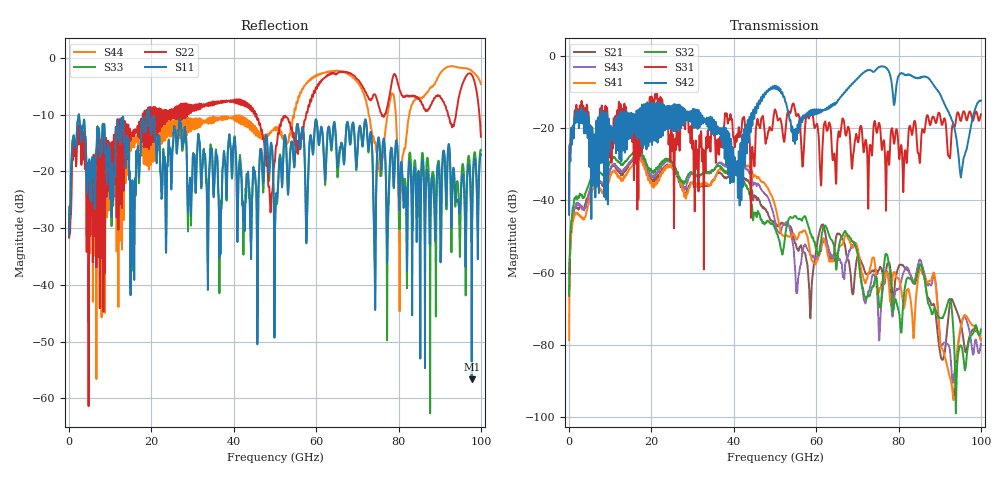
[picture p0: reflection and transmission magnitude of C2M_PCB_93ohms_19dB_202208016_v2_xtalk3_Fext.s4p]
! Info: Touchstone file created by Circ.  Input file=Intel_C2M_200G_6p5in_202208016_staggered.circ
# Hz S RI R 50
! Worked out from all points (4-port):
!   10000 points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, 10 MHz to 100 GHz, reference 50 ohm
!   strongest paths, dB at 10 MHz, 25.01 GHz, 50.01 GHz, 75.01 GHz, 100 GHz:
!     S42: -43.8, -16.6, -8.5, -3.4, -12.4
!     S31: -44.0, -26.0, -14.9, -19.8, -16.2
!     S32: -66.3, -29.3, -47.9, -65.0, -75.7
!     S41: -78.7, -30.9, -41.5, -65.1, -78.6
!     S43: -66.1, -29.5, -45.8, -70.0, -79.6
!     S21: -64.1, -31.0, -46.5, -59.6, -78.7
!   lowest |S11| = -56.6 dB at 97.76 GHz (marker M1), VSWR 1.00, Z = 50.1 - j0.0533 ohm
!   |S11| at or under -10 dB: start of sweep to 2.33 GHz; 2.389 GHz to 18.85 GHz (16.47 GHz wide, 155 % of centre); 19.42 GHz to end of sweep
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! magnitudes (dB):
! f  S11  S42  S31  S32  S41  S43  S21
! 10 MHz  -31.3  -43.8  -44.0  -66.3  -78.7  -66.1  -64.1
! 1.37 GHz  -15.5  -16.7  -15.2  -39.4  -44.1  -41.9  -42.2
! 16.88 GHz  -19.9  -16.1  -28.6  -25.7  -28.2  -26.9  -27.2
! 66.46 GHz  -16.1  -10.8  -17.4  -49.7  -52.0  -61.1  -50.9
! 80.36 GHz  -21.8  -5.0  -26.8  -73.6  -63.0  -63.7  -57.8
! 97.76 GHz  -56.6  -18.5  -17.0  -77.3  -74.4  -80.2  -76.1
! 100 GHz  -16.9  -12.4  -16.2  -75.7  -78.6  -79.6  -78.7
